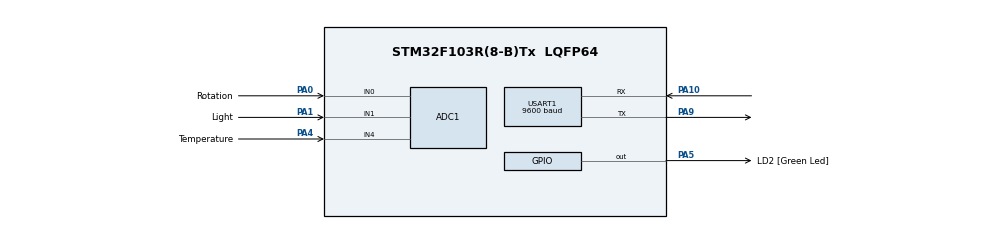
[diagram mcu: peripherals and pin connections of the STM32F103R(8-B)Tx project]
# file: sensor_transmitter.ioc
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ADC1.Channel-6\#ChannelRegularConversion=ADC_CHANNEL_1
ADC1.NbrOfConversionFlag=1
ADC1.Rank-6\#ChannelRegularConversion=1
ADC1.SamplingTime-6\#ChannelRegularConversion=ADC_SAMPLETIME_1CYCLE_5
ADC1.master=1
Dma.Request0=USART1_TX
Dma.USART1_TX.0.Direction=DMA_MEMORY_TO_PERIPH
Dma.USART1_TX.0.Instance=DMA1_Channel4
Dma.USART1_TX.0.MemDataAlignment=DMA_MDATAALIGN_BYTE
Dma.USART1_TX.0.MemInc=DMA_MINC_ENABLE
Dma.USART1_TX.0.Mode=DMA_NORMAL
Dma.USART1_TX.0.PeriphDataAlignment=DMA_PDATAALIGN_BYTE
Dma.USART1_TX.0.PeriphInc=DMA_PINC_DISABLE
Dma.USART1_TX.0.Priority=DMA_PRIORITY_LOW
Mcu.Family=STM32F1
Mcu.Name=STM32F103R(8-B)Tx
Mcu.Package=LQFP64
NVIC.DMA1_Channel4_IRQn=true\:0\:0\:false\:false\:true\:true\:true\:true
NVIC.PriorityGroup=NVIC_PRIORITYGROUP_4
NVIC.USART1_IRQn=true\:0\:0\:false\:false\:true\:true\:true\:true
PA0-WKUP.GPIO_Label=Rotation
PA0-WKUP.Signal=ADCx_IN0
PA1.GPIO_Label=Light
PA1.Signal=ADCx_IN1
PA10.Mode=Asynchronous
PA10.Signal=USART1_RX
PA13.GPIO_Label=TMS
PA13.Mode=Serial_Wire
PA13.Signal=SYS_JTMS-SWDIO
PA14.GPIO_Label=TCK
PA14.Mode=Serial_Wire
PA14.Signal=SYS_JTCK-SWCLK
PA4.GPIO_Label=Temperature
PA4.Signal=ADCx_IN4
PA5.GPIO_Label=LD2 [Green Led]
PA5.GPIO_ModeDefaultOutputPP=GPIO_MODE_OUTPUT_PP
PA5.GPIO_PuPd=GPIO_NOPULL
PA5.GPIO_Speed=GPIO_SPEED_FREQ_LOW
PA5.Signal=GPIO_Output
PA9.Mode=Asynchronous
PA9.Signal=USART1_TX
ProjectManager.HeapSize=0x200
ProjectManager.StackSize=0x400
ProjectManager.TargetToolchain=STM32CubeIDE
RCC.AHBFreq_Value=8000000
RCC.APB1CLKDivider=RCC_HCLK_DIV2
RCC.APB1Freq_Value=4000000
RCC.APB1TimFreq_Value=8000000
RCC.APB2Freq_Value=8000000
RCC.APB2TimFreq_Value=8000000
RCC.HCLKFreq_Value=8000000
RCC.PLLMUL=RCC_PLL_MUL2
RCC.PLLSource=RCC_PLLSOURCE_HSI
RCC.PLLSourceVirtualString=RCC_PLLSOURCE_HSI
RCC.SYSCLKFreq_VALUE=8000000
RCC.SYSCLKSource=RCC_SYSCLKSOURCE_PLLCLK
RCC.USBFreq_Value=8000000
SH.ADCx_IN0.0=ADC1_IN0,IN0
SH.ADCx_IN1.0=ADC1_IN1,IN1
SH.ADCx_IN4.0=ADC1_IN4,IN4
USART1.BaudRate=9600
USART1.VirtualMode=VM_ASYNC
board=NUCLEO-F103RB

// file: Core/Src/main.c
         /* USER CODE BEGIN Header */
/**
  ******************************************************************************
  * @file           : main.c
  * @brief          : Main program body
  ******************************************************************************
  * @attention
  *
  * Copyright (c) 2026 STMicroelectronics.
  * All rights reserved.
  *
  * This software is licensed under terms that can be found in the LICENSE file
  * in the root directory of this software component.
  * If no LICENSE file comes with this software, it is provided AS-IS.
  *
  ******************************************************************************
  */
/* USER CODE END Header */
#include "main.h"

/* USER CODE BEGIN Includes */
#include <stdio.h>
/* USER CODE END Includes */

ADC_HandleTypeDef hadc1;

UART_HandleTypeDef huart1;
DMA_HandleTypeDef hdma_usart1_tx;

void SystemClock_Config(void);
static void MX_GPIO_Init(void);
static void MX_DMA_Init(void);
static void MX_USART1_UART_Init(void);
static void MX_ADC1_Init(void);
/* USER CODE BEGIN PFP */
uint32_t ADC_Read_Channel(uint32_t channel);
/* USER CODE END PFP */

/* USER CODE BEGIN 0 */
uint32_t ADC_Read_Channel(uint32_t channel) {
    ADC_ChannelConfTypeDef sConfig = {0};

    sConfig.Channel = channel;
    sConfig.Rank = ADC_REGULAR_RANK_1;
    sConfig.SamplingTime = ADC_SAMPLETIME_55CYCLES_5;

    if (HAL_ADC_ConfigChannel(&hadc1, &sConfig) != HAL_OK) {
        Error_Handler();
    }

    HAL_ADC_Start(&hadc1);
    HAL_ADC_PollForConversion(&hadc1, 100);
    uint32_t val = HAL_ADC_GetValue(&hadc1);
    HAL_ADC_Stop(&hadc1);

    return val;
}
/* USER CODE END 0 */

int main(void)
{

  /* MCU Configuration--------------------------------------------------------*/

  /* Reset of all peripherals, Initializes the Flash interface and the Systick. */
  HAL_Init();

  /* USER CODE BEGIN Init */
  RCC_OscInitTypeDef RCC_OscInitStruct = {0};
  RCC_OscInitStruct.OscillatorType = RCC_OSCILLATORTYPE_HSI;
  RCC_OscInitStruct.HSIState = RCC_HSI_ON;
  RCC_OscInitStruct.HSICalibrationValue = RCC_HSICALIBRATION_DEFAULT;
  RCC_OscInitStruct.PLL.PLLState = RCC_PLL_ON;
  RCC_OscInitStruct.PLL.PLLSource = RCC_PLLSOURCE_HSI_DIV2;
  RCC_OscInitStruct.PLL.PLLMUL = RCC_PLL_MUL2;
  if (HAL_RCC_OscConfig(&RCC_OscInitStruct) != HAL_OK)
  {
    Error_Handler();
  }
  /* USER CODE END Init */

  /* Configure the system clock */
  SystemClock_Config();

  /* Initialize all configured peripherals */
  MX_GPIO_Init();
  MX_DMA_Init();
  MX_USART1_UART_Init();
  MX_ADC1_Init();

  /* Infinite loop */
  while (1)
  {

    /* USER CODE BEGIN 3 */
    uint32_t pot_raw = ADC_Read_Channel(ADC_CHANNEL_0);
    uint32_t light_raw = ADC_Read_Channel(ADC_CHANNEL_1);
    uint32_t temp_raw = ADC_Read_Channel(ADC_CHANNEL_4);

    float v_pot = (pot_raw / 4095.0f) * 100.0f;
    float light_percent = (light_raw / 4095.0f) * 100.0f;
    /* Analog temperature sensor mapped to 0..205 C over the full 12-bit ADC range. */
    float temperature = (temp_raw / 4095.0f) * 205.0f;

    int pot10 = (int)(v_pot * 10.0f + 0.5f);
    int light10 = (int)(light_percent * 10.0f + 0.5f);
    int temp10 = (int)(temperature * 10.0f + 0.5f);
    if (pot10 < 0) pot10 = 0;
    if (light10 < 0) light10 = 0;
    if (temp10 < 0) temp10 = 0;

    /* Frame format: "P<pot>;L<light>;T<temp>\r\n", values in percent / deg C with one decimal. */
    static uint8_t tx_buf[40];
    if (huart1.gState == HAL_UART_STATE_READY)
    {
      int n = snprintf((char *)tx_buf, sizeof(tx_buf), "P%d.%d;L%d.%d;T%d.%d\r\n",
                       pot10 / 10, pot10 % 10,
                       light10 / 10, light10 % 10,
                       temp10 / 10, temp10 % 10);
      if (n > 0 && n < (int)sizeof(tx_buf))
      {
        int i;
        /* Send byte by byte with a 1 ms gap: the receiver decodes this stream in software. */
        for (i = 0; i < n; i++)
        {
          HAL_UART_Transmit(&huart1, &tx_buf[i], 1, 20);
          HAL_Delay(1);
        }
      }
    }

    HAL_GPIO_TogglePin(LD2_GPIO_Port, LD2_Pin);
    HAL_Delay(500);
  }
  /* USER CODE END 3 */
}

void SystemClock_Config(void)
{
  RCC_ClkInitTypeDef RCC_ClkInitStruct = {0};
  RCC_PeriphCLKInitTypeDef PeriphClkInit = {0};

  /** Initializes the CPU, AHB and APB buses clocks
  */
  RCC_ClkInitStruct.ClockType = RCC_CLOCKTYPE_HCLK|RCC_CLOCKTYPE_SYSCLK
                              |RCC_CLOCKTYPE_PCLK1|RCC_CLOCKTYPE_PCLK2;
  RCC_ClkInitStruct.SYSCLKSource = RCC_SYSCLKSOURCE_PLLCLK;
  RCC_ClkInitStruct.AHBCLKDivider = RCC_SYSCLK_DIV1;
  RCC_ClkInitStruct.APB1CLKDivider = RCC_HCLK_DIV2;
  RCC_ClkInitStruct.APB2CLKDivider = RCC_HCLK_DIV1;

  if (HAL_RCC_ClockConfig(&RCC_ClkInitStruct, FLASH_LATENCY_0) != HAL_OK)
  {
    Error_Handler();
  }
  PeriphClkInit.PeriphClockSelection = RCC_PERIPHCLK_ADC;
  PeriphClkInit.AdcClockSelection = RCC_ADCPCLK2_DIV2;
  if (HAL_RCCEx_PeriphCLKConfig(&PeriphClkInit) != HAL_OK)
  {
    Error_Handler();
  }
}

static void MX_ADC1_Init(void)
{

  ADC_ChannelConfTypeDef sConfig = {0};

  /** Common config
  */
  hadc1.Instance = ADC1;
  hadc1.Init.ScanConvMode = ADC_SCAN_DISABLE;
  hadc1.Init.ContinuousConvMode = DISABLE;
  hadc1.Init.DiscontinuousConvMode = DISABLE;
  hadc1.Init.ExternalTrigConv = ADC_SOFTWARE_START;
  hadc1.Init.DataAlign = ADC_DATAALIGN_RIGHT;
  hadc1.Init.NbrOfConversion = 1;
  if (HAL_ADC_Init(&hadc1) != HAL_OK)
  {
    Error_Handler();
  }

  /** Configure Regular Channel
  */
  sConfig.Channel = ADC_CHANNEL_1;
  sConfig.Rank = ADC_REGULAR_RANK_1;
  sConfig.SamplingTime = ADC_SAMPLETIME_1CYCLE_5;
  if (HAL_ADC_ConfigChannel(&hadc1, &sConfig) != HAL_OK)
  {
    Error_Handler();
  }

}

static void MX_USART1_UART_Init(void)
{

  huart1.Instance = USART1;
  huart1.Init.BaudRate = 9600;
  huart1.Init.WordLength = UART_WORDLENGTH_8B;
  huart1.Init.StopBits = UART_STOPBITS_1;
  huart1.Init.Parity = UART_PARITY_NONE;
  huart1.Init.Mode = UART_MODE_TX_RX;
  huart1.Init.HwFlowCtl = UART_HWCONTROL_NONE;
  huart1.Init.OverSampling = UART_OVERSAMPLING_16;
  if (HAL_UART_Init(&huart1) != HAL_OK)
  {
    Error_Handler();
  }

}

static void MX_DMA_Init(void)
{

  /* DMA controller clock enable */
  __HAL_RCC_DMA1_CLK_ENABLE();

  /* DMA interrupt init */
  /* DMA1_Channel4_IRQn interrupt configuration */
  HAL_NVIC_SetPriority(DMA1_Channel4_IRQn, 0, 0);
  HAL_NVIC_EnableIRQ(DMA1_Channel4_IRQn);

}

static void MX_GPIO_Init(void)
{
  GPIO_InitTypeDef GPIO_InitStruct = {0};

  /* GPIO Ports Clock Enable */
  __HAL_RCC_GPIOA_CLK_ENABLE();

  /*Configure GPIO pin Output Level */
  HAL_GPIO_WritePin(LD2_GPIO_Port, LD2_Pin, GPIO_PIN_RESET);

  /*Configure GPIO pin : LD2_Pin */
  GPIO_InitStruct.Pin = LD2_Pin;
  GPIO_InitStruct.Mode = GPIO_MODE_OUTPUT_PP;
  GPIO_InitStruct.Pull = GPIO_NOPULL;
  GPIO_InitStruct.Speed = GPIO_SPEED_FREQ_LOW;
  HAL_GPIO_Init(LD2_GPIO_Port, &GPIO_InitStruct);

}

void Error_Handler(void)
{
  __disable_irq();
  while (1)
  {
  }
}
